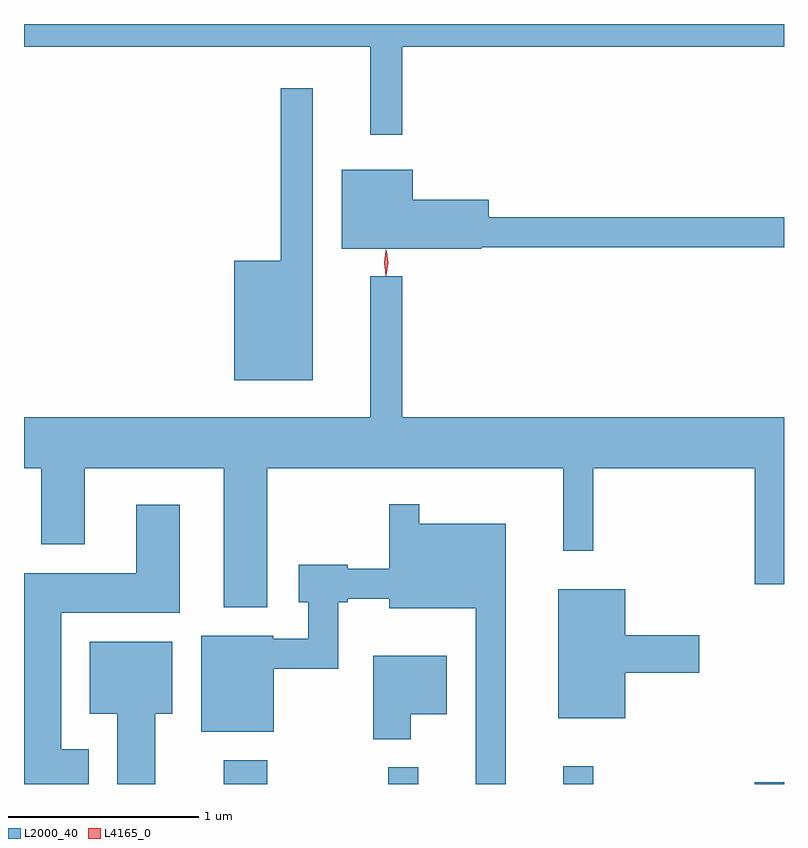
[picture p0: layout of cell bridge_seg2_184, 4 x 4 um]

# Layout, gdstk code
import gdstk
lib = gdstk.Library(unit=1e-6, precision=1e-09)
def R(c, l, rs):  # rectangles x0, y0, x1, y1
    for r in rs: c.add(gdstk.rectangle(r[:2], r[2:], *l))
def P(c, l, *ps):  # polygons
    for p in ps: c.add(gdstk.Polygon(p, *l))
L2000_40 = (2000, 40)
L4165_0 = (4165, 0)

bridge_seg2_184 = lib.new_cell('bridge_seg2_184')
R(bridge_seg2_184, L2000_40, [(811.681,1002.255,811.909,1002.379), (812.546,1002.255,812.704,1002.343), (813.466,1002.255,813.624,1002.348), (814.476,1002.255,814.629,1002.264)])
P(bridge_seg2_184, L2000_40, [(814.629,1006.255),(810.629,1006.255),(810.629,1006.136),(812.451,1006.136),(812.451,1005.673),(812.619,1005.673),(812.619,1006.136),(814.629,1006.136)],
  [(812.149,1005.918),(811.981,1005.918),(811.981,1005.009),(811.736,1005.009),(811.736,1004.381),(812.149,1004.381)],
  [(813.035,1005.081),(814.629,1005.081),(814.629,1005.239),(813.074,1005.239),(813.074,1005.329),(812.674,1005.329),(812.674,1005.489),(812.301,1005.489),(812.301,1005.071),(813.035,1005.071)],
  [(811.909,1003.916),(813.466,1003.916),(813.466,1003.483),(813.624,1003.483),(813.624,1003.916),(814.476,1003.916),(814.476,1003.306),(814.629,1003.306),(814.629,1004.184),(812.619,1004.184),(812.619,1004.928),(812.451,1004.928),(812.451,1004.184),(810.629,1004.184),(810.629,1003.916),(810.721,1003.916),(810.721,1003.516),(810.949,1003.516),(810.949,1003.916),(811.681,1003.916),(811.681,1003.186),(811.909,1003.186)],
  [(813.164,1003.624),(812.709,1003.624),(812.709,1003.728),(812.551,1003.728),(812.551,1003.389),(812.334,1003.389),(812.334,1003.409),(812.076,1003.409),(812.076,1003.211),(812.126,1003.211),(812.126,1003.019),(811.94,1003.019),(811.94,1003.034),(811.561,1003.034),(811.561,1002.531),(811.944,1002.531),(811.944,1002.861),(812.284,1002.861),(812.284,1003.211),(812.334,1003.211),(812.334,1003.231),(812.551,1003.231),(812.551,1003.181),(813.006,1003.181),(813.006,1002.255),(813.164,1002.255)],
  [(810.969,1002.439),(810.824,1002.439),(810.824,1003.156),(811.449,1003.156),(811.449,1003.724),(811.221,1003.724),(811.221,1003.364),(810.629,1003.364),(810.629,1002.255),(810.969,1002.255)],
  [(813.794,1002.841),(814.184,1002.841),(814.184,1003.039),(813.794,1003.039),(813.794,1003.279),(813.441,1003.279),(813.441,1002.601),(813.794,1002.601)],
  [(811.319,1002.626),(811.409,1002.626),(811.409,1003.004),(810.976,1003.004),(810.976,1002.626),(811.121,1002.626),(811.121,1002.255),(811.319,1002.255)],
  [(812.664,1002.621),(812.854,1002.621),(812.854,1002.929),(812.466,1002.929),(812.466,1002.491),(812.664,1002.491)])
P(bridge_seg2_184, L4165_0, [(812.535,1004.934),(812.535,1004.934),(812.526,1004.997),(812.537,1005.059),(812.537,1005.06),(812.538,1005.059),(812.546,1004.997),(812.536,1004.934)],
  [(812.534,1004.931),(812.525,1004.998),(812.534,1005.065),(812.534,1005.066),(812.535,1005.065),(812.545,1004.998),(812.536,1004.931),(812.535,1004.931)])

lib.write_gds('bridge_seg2_184.gds')
